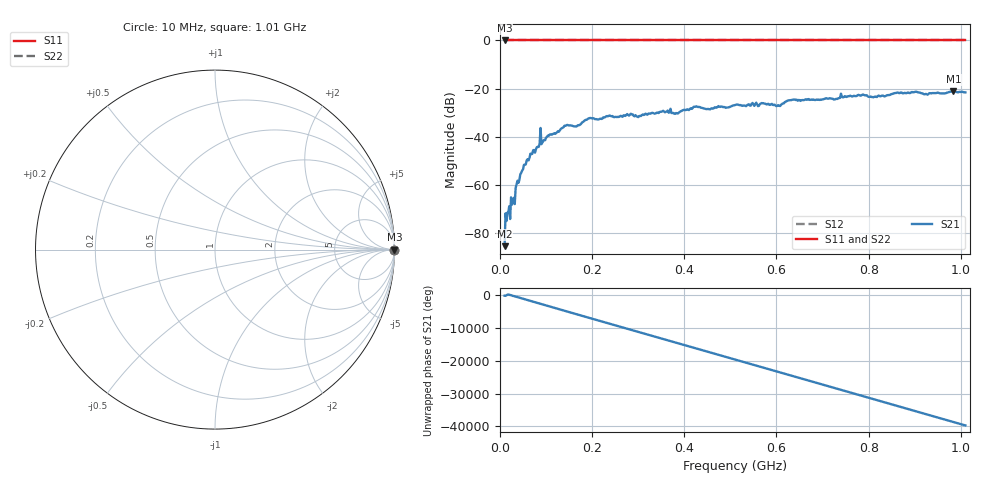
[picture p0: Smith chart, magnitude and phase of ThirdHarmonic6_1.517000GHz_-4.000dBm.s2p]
! 8/16/2025 5:53:18 PM
! C:\ANRITSUVNA\TEMP\TEMP.S2P
! CHANNEL.1
! TR.MEASUREMENT
! RAW.DATA
! RF.CORRECTION.OFF
! AVERAGING.OFF
! IF.BANDWIDTH: 5KHZ
! SWEEPTYPE:  FREQ.SWEEP(Linear)
! Reference Plane Port Info
! PORT:  PORT1  PORT2
! DISTANCE:  0  m  0  m
! TIME:  0  s  0  s
! PHASE.OFFSET:  0  deg.  0  deg.
! LOSS:  0  dB  0  dB
! REF.LOSS:  0  dB  0  dB
! REF.FREQ:  0  Hz  0  Hz
! Power Info
! POWER:  -20  dBm  -20  dBm
! EFF.POWER:  -20  dBm  -20  dBm
! SOURCE.ATTEN:  0  dB  0  dB
! TEST.ATTEN:  0  dB  0  dB
# GHZ S RI R 50.0
! FREQ.GHZ  S11RE  S11IM  S21RE  S21IM  S12RE  S12IM  S22RE  S22IM
!; PortSelection: Port_12
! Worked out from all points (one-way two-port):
!   501 points, 10 MHz to 1.01 GHz, reference 50 ohm
!   highest |S21| = -21.20 dB at 984 MHz (marker M1); lowest = -85.5 dB at 10 MHz (marker M2)
!   lowest |S11| = 0.0 dB at 10 MHz (marker M3)
!   |S11| at or under -10 dB: nowhere
!   |S22| runs from 0.0 to 0.0 dB; largest |S21 - S12| = 1.1
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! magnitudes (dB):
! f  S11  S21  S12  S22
! 10 MHz  0.0  -85.5  0.0  0.0
! 16 MHz  0.0  -71.6  0.0  0.0
! 18 MHz  0.0  -71.4  0.0  0.0
! 30 MHz  0.0  -65.4  0.0  0.0
! 38 MHz  0.0  -58.3  0.0  0.0
! 48 MHz  0.0  -54.1  0.0  0.0
! 70 MHz  0.0  -47.1  0.0  0.0
! 80 MHz  0.0  -44.4  0.0  0.0
! 84 MHz  0.0  -44.3  0.0  0.0
! 142 MHz  0.0  -35.5  0.0  0.0
! 178 MHz  0.0  -34.1  0.0  0.0
! 196 MHz  0.0  -32.2  0.0  0.0
! 344 MHz  0.0  -30.2  0.0  0.0
! 382 MHz  0.0  -30.2  0.0  0.0
! 424 MHz  0.0  -27.6  0.0  0.0
! 510 MHz  0.0  -26.8  0.0  0.0
! 604 MHz  0.0  -26.9  0.0  0.0
! 632 MHz  0.0  -24.8  0.0  0.0
! 678 MHz  0.0  -24.7  0.0  0.0
! 844 MHz  0.0  -22.7  0.0  0.0
! 984 MHz  0.0  -21.2  0.0  0.0
! 1.01 GHz  0.0  -21.6  0.0  0.0
